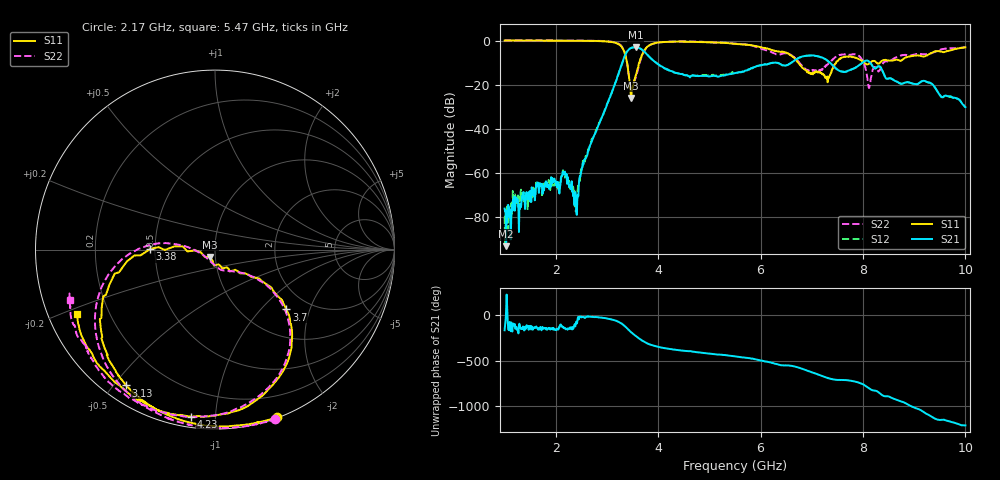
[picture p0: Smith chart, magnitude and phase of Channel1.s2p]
!Agilent Technologies,N5227A,US51270477,A.10.00.00
!File generated by LCAF-GAM-UPV software
!josevmart@iteam.upv.es
!S2P File: Measurements: S11, S21, S12, S22:
# Hz S  dB  R 50
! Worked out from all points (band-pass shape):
!   901 points, 1 GHz to 10 GHz, reference 50 ohm
!   highest |S21| = -3.05 dB at 3.56 GHz (marker M1); lowest = -93.1 dB at 1.03 GHz (marker M2)
!   |S21| within 3 dB of the highest: 3.366 GHz to 3.771 GHz (405.3 MHz wide, 11.4 % of centre)
!   lowest |S11| = -26.0 dB at 3.47 GHz (marker M3), VSWR 1.10, Z = 47.2 - j3.94 ohm
!   |S11| at or under -10 dB: 3.39 GHz to 3.631 GHz (241.3 MHz wide, 6.87 % of centre); 6.734 GHz to 7.474 GHz (740.5 MHz wide, 10.4 % of centre); 8.026 GHz to 8.147 GHz (120.9 MHz wide, 1.5 % of centre)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
!   |S22| runs from -23.6 to 0.0 dB; largest |S21 - S12| = 0.04
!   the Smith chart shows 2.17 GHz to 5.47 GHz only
!   S11 on the Smith chart (normalised r, x): 2.17 GHz: 0.01, -1.43; 3.13 GHz: 0.06, -0.54; 3.38 GHz: 0.47, +0.00; 3.7 GHz: 1.54, -1.40; 4.23 GHz: 0.05, -0.87; 5.47 GHz: 0.08, -0.22
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1e9  -0.00 -31.2  -76.08 -165.9  -79.81 172.2  0.02 -31.7
1.03e9  0.01 -32.1  -93.14 56.8  -84.03 8.4  0.02 -32.7
2.17e9  -0.04 -69.8  -59.89 -138.9  -60.86 -137.3  0.01 -70.6
2.4e9  -0.08 -78.2  -77.53 -70.4  -76.50 -72.3  -0.01 -79.2
2.5e9  -0.10 -82.1  -58.80 -23.3  -57.97 -19.9  -0.03 -84.8
3.13e9  -0.87 -123.2  -21.10 -53.6  -21.32 -52.5  -0.70 -124.7
3.38e9  -8.85 179.4  -5.40 -138.3  -5.48 -135.2  -8.53 176.5
3.47e9  -26.05 -123.4  -3.36 172.3  -3.35 175.7  -23.55 -125.0
3.56e9  -15.96 -45.0  -3.05 131.0  -3.00 133.6  -16.86 -56.4
3.7e9  -5.71 -40.0  -4.46 75.7  -4.36 76.8  -5.96 -40.0
4e9  -0.87 -81.4  -10.80 10.8  -10.74 10.8  -0.94 -82.9
4.23e9  -0.54 -98.2  -13.64 -12.2  -13.70 -12.0  -0.49 -99.8
5.47e9  -1.41 -154.9  -14.90 -91.0  -14.74 -92.7  -1.34 -161.0
5.5e9  -1.50 -156.0  -14.80 -93.3  -14.59 -94.9  -1.38 -162.2
6.54e9  -5.86 145.6  -10.87 166.8  -10.98 167.0  -5.94 150.3
7e9  -15.19 149.2  -6.78 90.8  -6.82 93.3  -13.40 153.4
7.51e9  -9.05 178.9  -13.34 6.9  -13.31 8.2  -6.70 155.7
7.85e9  -7.88 119.3  -12.32 -13.2  -12.28 -12.8  -6.28 99.5
8.09e9  -10.79 101.9  -9.10 -74.3  -9.13 -76.3  -17.77 42.8
8.5e9  -9.07 63.0  -17.21 -175.4  -17.18 -177.0  -9.63 75.0
9.5e9  -4.88 -20.1  -24.67 -74.5  -24.69 -75.4  -4.22 -15.3
1e10  -3.11 -51.0  -30.17 -134.6  -30.29 -135.2  -2.92 -60.8
